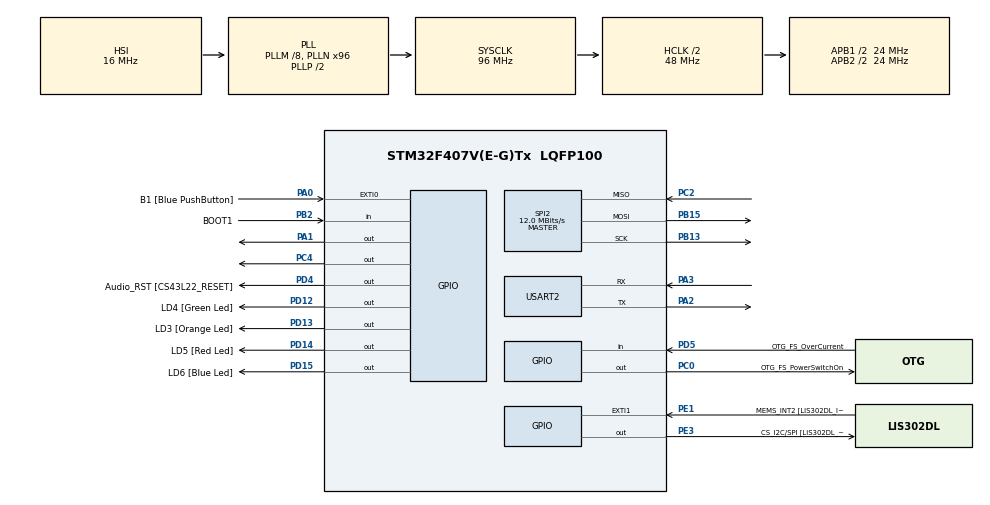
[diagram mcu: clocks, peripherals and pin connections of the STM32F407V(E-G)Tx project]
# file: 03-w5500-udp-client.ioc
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Mcu.Family=STM32F4
Mcu.Name=STM32F407V(E-G)Tx
Mcu.Package=LQFP100
NVIC.PriorityGroup=NVIC_PRIORITYGROUP_0
PA0-WKUP.GPIO_Label=B1 [Blue PushButton]
PA0-WKUP.Signal=GPXTI0
PA1.Signal=GPIO_Output
PA10.GPIO_Label=OTG_FS_ID
PA10.GPIO_Mode=GPIO_MODE_AF_PP
PA10.GPIO_PuPd=GPIO_NOPULL
PA10.GPIO_Speed=GPIO_SPEED_FREQ_LOW
PA10.Signal=USB_OTG_FS_ID
PA11.GPIO_Label=OTG_FS_DM
PA11.GPIO_Mode=GPIO_MODE_AF_PP
PA11.GPIO_PuPd=GPIO_NOPULL
PA11.GPIO_Speed=GPIO_SPEED_FREQ_LOW
PA11.Signal=USB_OTG_FS_DM
PA12.GPIO_Label=OTG_FS_DP
PA12.GPIO_Mode=GPIO_MODE_AF_PP
PA12.GPIO_PuPd=GPIO_NOPULL
PA12.GPIO_Speed=GPIO_SPEED_FREQ_LOW
PA12.Signal=USB_OTG_FS_DP
PA13.GPIO_Label=SWDIO
PA13.Signal=SYS_JTMS-SWDIO
PA14.GPIO_Label=SWCLK
PA14.Signal=SYS_JTCK-SWCLK
PA2.Mode=Asynchronous
PA2.Signal=USART2_TX
PA3.Mode=Asynchronous
PA3.Signal=USART2_RX
PA4.GPIO_Label=I2S3_WS [CS43L22_LRCK]
PA4.GPIO_Mode=GPIO_MODE_AF_PP
PA4.GPIO_PuPd=GPIO_NOPULL
PA4.GPIO_Speed=GPIO_SPEED_FREQ_LOW
PA4.Signal=I2S3_WS
PA5.GPIO_Label=SPI1_SCK [LIS302DL_SCL/SPC]
PA5.GPIO_Mode=GPIO_MODE_AF_PP
PA5.GPIO_PuPd=GPIO_NOPULL
PA5.GPIO_Speed=GPIO_SPEED_FREQ_LOW
PA5.Signal=SPI1_SCK
PA6.GPIO_Label=SPI1_MISO [LIS302DL_SDO]
PA6.GPIO_Mode=GPIO_MODE_AF_PP
PA6.GPIO_PuPd=GPIO_NOPULL
PA6.GPIO_Speed=GPIO_SPEED_FREQ_LOW
PA6.Signal=SPI1_MISO
PA7.GPIO_Label=SPI1_MOSI [LIS302DL_SDA/SDI/SDO]
PA7.GPIO_Mode=GPIO_MODE_AF_PP
PA7.GPIO_PuPd=GPIO_NOPULL
PA7.GPIO_Speed=GPIO_SPEED_FREQ_LOW
PA7.Signal=SPI1_MOSI
PA9.GPIO_Label=VBUS_FS
PA9.GPIO_Mode=GPIO_MODE_INPUT
PA9.GPIO_PuPd=GPIO_NOPULL
PA9.Signal=USB_OTG_FS_VBUS
PB10.GPIO_Label=CLK_IN [MP45DT02_CLK]
PB10.GPIO_Mode=GPIO_MODE_AF_PP
PB10.GPIO_PuPd=GPIO_NOPULL
PB10.GPIO_Speed=GPIO_SPEED_FREQ_LOW
PB10.Signal=I2S2_CK
PB13.Mode=Full_Duplex_Master
PB13.Signal=SPI2_SCK
PB15.Mode=Full_Duplex_Master
PB15.Signal=SPI2_MOSI
PB2.GPIO_Label=BOOT1
PB2.GPIO_Mode=GPIO_MODE_INPUT
PB2.GPIO_PuPd=GPIO_NOPULL
PB2.Signal=GPIO_Input
PB3.GPIO_Label=SWO
PB3.Signal=SYS_JTDO-SWO
PB6.GPIO_Label=Audio_SCL [CS43L22_SCL]
PB6.GPIO_Mode=GPIO_MODE_AF_OD
PB6.GPIO_PuPd=GPIO_NOPULL
PB6.GPIO_Speed=GPIO_SPEED_FREQ_LOW
PB6.Signal=I2C1_SCL
PB9.GPIO_Label=Audio_SDA [CS43L22_SDA]
PB9.GPIO_Mode=GPIO_MODE_AF_OD
PB9.GPIO_PuPd=GPIO_NOPULL
PB9.GPIO_Speed=GPIO_SPEED_FREQ_LOW
PB9.Signal=I2C1_SDA
PC0.GPIO_Label=OTG_FS_PowerSwitchOn
PC0.GPIO_PuPd=GPIO_NOPULL
PC0.GPIO_Speed=GPIO_SPEED_FREQ_LOW
PC0.PinState=GPIO_PIN_SET
PC0.Signal=GPIO_Output
PC10.GPIO_Label=I2S3_SCK [CS43L22_SCLK]
PC10.GPIO_Mode=GPIO_MODE_AF_PP
PC10.GPIO_PuPd=GPIO_NOPULL
PC10.GPIO_Speed=GPIO_SPEED_FREQ_LOW
PC10.Signal=I2S3_CK
PC12.GPIO_Label=I2S3_SD [CS43L22_SDIN]
PC12.GPIO_Mode=GPIO_MODE_AF_PP
PC12.GPIO_PuPd=GPIO_NOPULL
PC12.GPIO_Speed=GPIO_SPEED_FREQ_LOW
PC12.Signal=I2S3_SD
PC14-OSC32_IN.GPIO_Label=PC14-OSC32_IN
PC14-OSC32_IN.Signal=RCC_OSC32_IN
PC15-OSC32_OUT.GPIO_Label=PC15-OSC32_OUT
PC15-OSC32_OUT.Signal=RCC_OSC32_OUT
PC2.Mode=Full_Duplex_Master
PC2.Signal=SPI2_MISO
PC3.GPIO_Label=PDM_OUT [MP45DT02_DOUT]
PC3.GPIO_Mode=GPIO_MODE_AF_PP
PC3.GPIO_PuPd=GPIO_NOPULL
PC3.GPIO_Speed=GPIO_SPEED_FREQ_LOW
PC3.Signal=I2S2_SD
PC4.Signal=GPIO_Output
PC7.GPIO_Label=I2S3_MCK [CS43L22_MCLK]
PC7.GPIO_Mode=GPIO_MODE_AF_PP
PC7.GPIO_PuPd=GPIO_NOPULL
PC7.GPIO_Speed=GPIO_SPEED_FREQ_LOW
PC7.Signal=I2S3_MCK
PD12.GPIO_Label=LD4 [Green Led]
PD12.GPIO_PuPd=GPIO_NOPULL
PD12.GPIO_Speed=GPIO_SPEED_FREQ_LOW
PD12.Signal=GPIO_Output
PD13.GPIO_Label=LD3 [Orange Led]
PD13.GPIO_PuPd=GPIO_NOPULL
PD13.GPIO_Speed=GPIO_SPEED_FREQ_LOW
PD13.Signal=GPIO_Output
PD14.GPIO_Label=LD5 [Red Led]
PD14.GPIO_PuPd=GPIO_NOPULL
PD14.GPIO_Speed=GPIO_SPEED_FREQ_LOW
PD14.Signal=GPIO_Output
PD15.GPIO_Label=LD6 [Blue Led]
PD15.GPIO_PuPd=GPIO_NOPULL
PD15.GPIO_Speed=GPIO_SPEED_FREQ_LOW
PD15.Signal=GPIO_Output
PD4.GPIO_Label=Audio_RST [CS43L22_RESET]
PD4.GPIO_PuPd=GPIO_NOPULL
PD4.GPIO_Speed=GPIO_SPEED_FREQ_LOW
PD4.Signal=GPIO_Output
PD5.GPIO_Label=OTG_FS_OverCurrent
PD5.GPIO_Mode=GPIO_MODE_INPUT
PD5.GPIO_PuPd=GPIO_NOPULL
PD5.Signal=GPIO_Input
PE1.GPIO_Label=MEMS_INT2 [LIS302DL_INT2]
PE1.GPIO_ModeDefaultEXTI=GPIO_MODE_EVT_RISING
PE1.GPIO_PuPd=GPIO_NOPULL
PE1.Signal=GPXTI1
PE3.GPIO_Label=CS_I2C/SPI [LIS302DL_CS_I2C/SPI]
PE3.GPIO_PuPd=GPIO_NOPULL
PE3.GPIO_Speed=GPIO_SPEED_FREQ_LOW
PE3.Signal=GPIO_Output
PH0-OSC_IN.GPIO_Label=PH0-OSC_IN
PH0-OSC_IN.Signal=RCC_OSC_IN
PH1-OSC_OUT.GPIO_Label=PH1-OSC_OUT
PH1-OSC_OUT.Signal=RCC_OSC_OUT
ProjectManager.HeapSize=0x200
ProjectManager.StackSize=0x400
ProjectManager.TargetToolchain=STM32CubeIDE
RCC.48MHZClocksFreq_Value=27428571.42857143
RCC.AHBCLKDivider=RCC_SYSCLK_DIV2
RCC.AHBFreq_Value=48000000
RCC.APB1CLKDivider=RCC_HCLK_DIV2
RCC.APB1Freq_Value=24000000
RCC.APB1TimFreq_Value=48000000
RCC.APB2CLKDivider=RCC_HCLK_DIV2
RCC.APB2Freq_Value=24000000
RCC.APB2TimFreq_Value=48000000
RCC.CortexFreq_Value=48000000
RCC.HCLKFreq_Value=48000000
RCC.HSE_VALUE=8000000
RCC.HSI_VALUE=16000000
RCC.LSE_VALUE=32768
RCC.PLLM=8
RCC.PLLN=96
RCC.PLLQ=7
RCC.SYSCLKFreq_VALUE=96000000
RCC.SYSCLKSource=RCC_SYSCLKSOURCE_PLLCLK
RCC.VCOOutputFreq_Value=192000000
SPI2.CalculateBaudRate=12.0 MBits/s
SPI2.Direction=SPI_DIRECTION_2LINES
SPI2.Mode=SPI_MODE_MASTER
SPI2.VirtualType=VM_MASTER
USART2.VirtualMode=VM_ASYNC
board=STM32F407G-DISC1

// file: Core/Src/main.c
/* USER CODE BEGIN Header */
#include <stdio.h>
#include <string.h>
/* USER CODE END Header */
#include "main.h"

/* USER CODE BEGIN Includes */
#include "w5500_spi.h"
#include "wizchip_conf.h"
#include "socket.h"
/* USER CODE END Includes */

/* USER CODE BEGIN PD */
#define SERVER_PORT		5000
#define SOCK_FD			1
/* USER CODE END PD */

SPI_HandleTypeDef hspi2;
UART_HandleTypeDef huart2;

/* USER CODE BEGIN PV */
uint8_t server_ip[4] = {192, 168, 1, 25};
/* USER CODE END PV */

void SystemClock_Config(void);
static void MX_GPIO_Init(void);
static void MX_SPI2_Init(void);
static void MX_USART2_UART_Init(void);
/* USER CODE BEGIN PFP */
static void u2_writebyte(const char data);
static void PHY_StatusCheck(void);
static void PHY_ConfPrint(void);
static void PHY_ConfSW(void);   // configure PHY by software
/* USER CODE END PFP */

/* USER CODE BEGIN 0 */
// 80 34 28 74 a5 cb
wiz_NetInfo wiz_netinfo = {
	.mac 	= {0x80, 0x34, 0x28, 0x74, 0xA5, 0xCB}, // MSB - LSB
	.ip 	= {192, 168, 1, 112},
	.sn		= {255, 255, 255, 0},
	.gw		= {192, 168, 1, 254},
	.dns	= {8, 8, 8, 8},
	.dhcp	= NETINFO_STATIC
};
/* USER CODE END 0 */

int main(void)
{

  /* USER CODE BEGIN 1 */
  int32_t result; // to store result(return values) of socket functions
  /* USER CODE END 1 */

  /* MCU Configuration--------------------------------------------------------*/

  /* Reset of all peripherals, Initializes the Flash interface and the Systick. */
  HAL_Init();

  /* USER CODE BEGIN Init */
  setbuf(stdout, NULL);
  /* USER CODE END Init */

  /* Configure the system clock */
  SystemClock_Config();

  /* Initialize all configured peripherals */
  MX_GPIO_Init();
  MX_SPI2_Init();
  MX_USART2_UART_Init();

  /* USER CODE BEGIN 2 */

  W5500_Init();
  ctlnetwork(CN_SET_NETINFO, (void*)&wiz_netinfo);
  PHY_ConfSW();
  PHY_StatusCheck();
  PHY_ConfPrint();

  printf("A simple UDP client exmaple with wiznet library\r\n");
  printf("-----------------------------------------------\r\n");

  if (socket(SOCK_FD, Sn_MR_UDP, 0, 0) != SOCK_FD)
  {
	printf("Socket has been created \r\n");
  }
  else
  {
	printf("Unable to create a socket\r\n");
	while (1);
  }

  /* USER CODE END 2 */

  /* Infinite loop */
  /* USER CODE BEGIN WHILE */
  TEST_DEBUG_USART();
  while (1)
  {
	result = sendto(1, "[125:Noargs Sending data from STM32\r\n", 38, server_ip, SERVER_PORT);

	if (result < 0)
	{
	  printf("Unable to send the data\r\n");
	}
	else
	{
	  printf("Data sent successfully\r\n");
	  printf("Written %ld bytes to the socket.\r\n", result);
	}
	HAL_Delay(1000);
    /* USER CODE END WHILE */

  }
}

void SystemClock_Config(void)
{
  RCC_OscInitTypeDef RCC_OscInitStruct = {0};
  RCC_ClkInitTypeDef RCC_ClkInitStruct = {0};

  /** Configure the main internal regulator output voltage
  */
  __HAL_RCC_PWR_CLK_ENABLE();
  __HAL_PWR_VOLTAGESCALING_CONFIG(PWR_REGULATOR_VOLTAGE_SCALE1);

  /** Initializes the RCC Oscillators according to the specified parameters
  * in the RCC_OscInitTypeDef structure.
  */
  RCC_OscInitStruct.OscillatorType = RCC_OSCILLATORTYPE_HSI;
  RCC_OscInitStruct.HSIState = RCC_HSI_ON;
  RCC_OscInitStruct.HSICalibrationValue = RCC_HSICALIBRATION_DEFAULT;
  RCC_OscInitStruct.PLL.PLLState = RCC_PLL_ON;
  RCC_OscInitStruct.PLL.PLLSource = RCC_PLLSOURCE_HSI;
  RCC_OscInitStruct.PLL.PLLM = 8;
  RCC_OscInitStruct.PLL.PLLN = 96;
  RCC_OscInitStruct.PLL.PLLP = RCC_PLLP_DIV2;
  RCC_OscInitStruct.PLL.PLLQ = 7;
  if (HAL_RCC_OscConfig(&RCC_OscInitStruct) != HAL_OK)
  {
    Error_Handler();
  }

  /** Initializes the CPU, AHB and APB buses clocks
  */
  RCC_ClkInitStruct.ClockType = RCC_CLOCKTYPE_HCLK|RCC_CLOCKTYPE_SYSCLK
                              |RCC_CLOCKTYPE_PCLK1|RCC_CLOCKTYPE_PCLK2;
  RCC_ClkInitStruct.SYSCLKSource = RCC_SYSCLKSOURCE_PLLCLK;
  RCC_ClkInitStruct.AHBCLKDivider = RCC_SYSCLK_DIV2;
  RCC_ClkInitStruct.APB1CLKDivider = RCC_HCLK_DIV2;
  RCC_ClkInitStruct.APB2CLKDivider = RCC_HCLK_DIV2;

  if (HAL_RCC_ClockConfig(&RCC_ClkInitStruct, FLASH_LATENCY_1) != HAL_OK)
  {
    Error_Handler();
  }
}

static void MX_SPI2_Init(void)
{

  /* SPI2 parameter configuration*/
  hspi2.Instance = SPI2;
  hspi2.Init.Mode = SPI_MODE_MASTER;
  hspi2.Init.Direction = SPI_DIRECTION_2LINES;
  hspi2.Init.DataSize = SPI_DATASIZE_8BIT;
  hspi2.Init.CLKPolarity = SPI_POLARITY_LOW;
  hspi2.Init.CLKPhase = SPI_PHASE_1EDGE;
  hspi2.Init.NSS = SPI_NSS_SOFT;
  hspi2.Init.BaudRatePrescaler = SPI_BAUDRATEPRESCALER_2;
  hspi2.Init.FirstBit = SPI_FIRSTBIT_MSB;
  hspi2.Init.TIMode = SPI_TIMODE_DISABLE;
  hspi2.Init.CRCCalculation = SPI_CRCCALCULATION_DISABLE;
  hspi2.Init.CRCPolynomial = 10;
  if (HAL_SPI_Init(&hspi2) != HAL_OK)
  {
    Error_Handler();
  }

}

static void MX_USART2_UART_Init(void)
{

  huart2.Instance = USART2;
  huart2.Init.BaudRate = 115200;
  huart2.Init.WordLength = UART_WORDLENGTH_8B;
  huart2.Init.StopBits = UART_STOPBITS_1;
  huart2.Init.Parity = UART_PARITY_NONE;
  huart2.Init.Mode = UART_MODE_TX_RX;
  huart2.Init.HwFlowCtl = UART_HWCONTROL_NONE;
  huart2.Init.OverSampling = UART_OVERSAMPLING_16;
  if (HAL_UART_Init(&huart2) != HAL_OK)
  {
    Error_Handler();
  }

}

static void MX_GPIO_Init(void)
{
  GPIO_InitTypeDef GPIO_InitStruct = {0};

  /* GPIO Ports Clock Enable */
  __HAL_RCC_GPIOE_CLK_ENABLE();
  __HAL_RCC_GPIOC_CLK_ENABLE();
  __HAL_RCC_GPIOH_CLK_ENABLE();
  __HAL_RCC_GPIOA_CLK_ENABLE();
  __HAL_RCC_GPIOB_CLK_ENABLE();
  __HAL_RCC_GPIOD_CLK_ENABLE();

  /*Configure GPIO pin Output Level */
  HAL_GPIO_WritePin(CS_I2C_SPI_GPIO_Port, CS_I2C_SPI_Pin, GPIO_PIN_RESET);

  /*Configure GPIO pin Output Level */
  HAL_GPIO_WritePin(OTG_FS_PowerSwitchOn_GPIO_Port, OTG_FS_PowerSwitchOn_Pin, GPIO_PIN_SET);

  /*Configure GPIO pin Output Level */
  HAL_GPIO_WritePin(GPIOA, GPIO_PIN_1, GPIO_PIN_RESET);

  /*Configure GPIO pin Output Level */
  HAL_GPIO_WritePin(GPIOC, GPIO_PIN_4, GPIO_PIN_RESET);

  /*Configure GPIO pin Output Level */
  HAL_GPIO_WritePin(GPIOD, LD4_Pin|LD3_Pin|LD5_Pin|LD6_Pin
                          |Audio_RST_Pin, GPIO_PIN_RESET);

  /*Configure GPIO pin : CS_I2C_SPI_Pin */
  GPIO_InitStruct.Pin = CS_I2C_SPI_Pin;
  GPIO_InitStruct.Mode = GPIO_MODE_OUTPUT_PP;
  GPIO_InitStruct.Pull = GPIO_NOPULL;
  GPIO_InitStruct.Speed = GPIO_SPEED_FREQ_LOW;
  HAL_GPIO_Init(CS_I2C_SPI_GPIO_Port, &GPIO_InitStruct);

  /*Configure GPIO pins : OTG_FS_PowerSwitchOn_Pin PC4 */
  GPIO_InitStruct.Pin = OTG_FS_PowerSwitchOn_Pin|GPIO_PIN_4;
  GPIO_InitStruct.Mode = GPIO_MODE_OUTPUT_PP;
  GPIO_InitStruct.Pull = GPIO_NOPULL;
  GPIO_InitStruct.Speed = GPIO_SPEED_FREQ_LOW;
  HAL_GPIO_Init(GPIOC, &GPIO_InitStruct);

  /*Configure GPIO pin : PDM_OUT_Pin */
  GPIO_InitStruct.Pin = PDM_OUT_Pin;
  GPIO_InitStruct.Mode = GPIO_MODE_AF_PP;
  GPIO_InitStruct.Pull = GPIO_NOPULL;
  GPIO_InitStruct.Speed = GPIO_SPEED_FREQ_LOW;
  GPIO_InitStruct.Alternate = GPIO_AF5_SPI2;
  HAL_GPIO_Init(PDM_OUT_GPIO_Port, &GPIO_InitStruct);

  /*Configure GPIO pin : B1_Pin */
  GPIO_InitStruct.Pin = B1_Pin;
  GPIO_InitStruct.Mode = GPIO_MODE_IT_RISING;
  GPIO_InitStruct.Pull = GPIO_NOPULL;
  HAL_GPIO_Init(B1_GPIO_Port, &GPIO_InitStruct);

  /*Configure GPIO pin : PA1 */
  GPIO_InitStruct.Pin = GPIO_PIN_1;
  GPIO_InitStruct.Mode = GPIO_MODE_OUTPUT_PP;
  GPIO_InitStruct.Pull = GPIO_NOPULL;
  GPIO_InitStruct.Speed = GPIO_SPEED_FREQ_LOW;
  HAL_GPIO_Init(GPIOA, &GPIO_InitStruct);

  /*Configure GPIO pin : I2S3_WS_Pin */
  GPIO_InitStruct.Pin = I2S3_WS_Pin;
  GPIO_InitStruct.Mode = GPIO_MODE_AF_PP;
  GPIO_InitStruct.Pull = GPIO_NOPULL;
  GPIO_InitStruct.Speed = GPIO_SPEED_FREQ_LOW;
  GPIO_InitStruct.Alternate = GPIO_AF6_SPI3;
  HAL_GPIO_Init(I2S3_WS_GPIO_Port, &GPIO_InitStruct);

  /*Configure GPIO pins : SPI1_SCK_Pin SPI1_MISO_Pin SPI1_MOSI_Pin */
  GPIO_InitStruct.Pin = SPI1_SCK_Pin|SPI1_MISO_Pin|SPI1_MOSI_Pin;
  GPIO_InitStruct.Mode = GPIO_MODE_AF_PP;
  GPIO_InitStruct.Pull = GPIO_NOPULL;
  GPIO_InitStruct.Speed = GPIO_SPEED_FREQ_LOW;
  GPIO_InitStruct.Alternate = GPIO_AF5_SPI1;
  HAL_GPIO_Init(GPIOA, &GPIO_InitStruct);

  /*Configure GPIO pin : BOOT1_Pin */
  GPIO_InitStruct.Pin = BOOT1_Pin;
  GPIO_InitStruct.Mode = GPIO_MODE_INPUT;
  GPIO_InitStruct.Pull = GPIO_NOPULL;
  HAL_GPIO_Init(BOOT1_GPIO_Port, &GPIO_InitStruct);

  /*Configure GPIO pin : CLK_IN_Pin */
  GPIO_InitStruct.Pin = CLK_IN_Pin;
  GPIO_InitStruct.Mode = GPIO_MODE_AF_PP;
  GPIO_InitStruct.Pull = GPIO_NOPULL;
  GPIO_InitStruct.Speed = GPIO_SPEED_FREQ_LOW;
  GPIO_InitStruct.Alternate = GPIO_AF5_SPI2;
  HAL_GPIO_Init(CLK_IN_GPIO_Port, &GPIO_InitStruct);

  /*Configure GPIO pins : LD4_Pin LD3_Pin LD5_Pin LD6_Pin
                           Audio_RST_Pin */
  GPIO_InitStruct.Pin = LD4_Pin|LD3_Pin|LD5_Pin|LD6_Pin
                          |Audio_RST_Pin;
  GPIO_InitStruct.Mode = GPIO_MODE_OUTPUT_PP;
  GPIO_InitStruct.Pull = GPIO_NOPULL;
  GPIO_InitStruct.Speed = GPIO_SPEED_FREQ_LOW;
  HAL_GPIO_Init(GPIOD, &GPIO_InitStruct);

  /*Configure GPIO pins : I2S3_MCK_Pin I2S3_SCK_Pin I2S3_SD_Pin */
  GPIO_InitStruct.Pin = I2S3_MCK_Pin|I2S3_SCK_Pin|I2S3_SD_Pin;
  GPIO_InitStruct.Mode = GPIO_MODE_AF_PP;
  GPIO_InitStruct.Pull = GPIO_NOPULL;
  GPIO_InitStruct.Speed = GPIO_SPEED_FREQ_LOW;
  GPIO_InitStruct.Alternate = GPIO_AF6_SPI3;
  HAL_GPIO_Init(GPIOC, &GPIO_InitStruct);

  /*Configure GPIO pin : VBUS_FS_Pin */
  GPIO_InitStruct.Pin = VBUS_FS_Pin;
  GPIO_InitStruct.Mode = GPIO_MODE_INPUT;
  GPIO_InitStruct.Pull = GPIO_NOPULL;
  HAL_GPIO_Init(VBUS_FS_GPIO_Port, &GPIO_InitStruct);

  /*Configure GPIO pins : OTG_FS_ID_Pin OTG_FS_DM_Pin OTG_FS_DP_Pin */
  GPIO_InitStruct.Pin = OTG_FS_ID_Pin|OTG_FS_DM_Pin|OTG_FS_DP_Pin;
  GPIO_InitStruct.Mode = GPIO_MODE_AF_PP;
  GPIO_InitStruct.Pull = GPIO_NOPULL;
  GPIO_InitStruct.Speed = GPIO_SPEED_FREQ_LOW;
  GPIO_InitStruct.Alternate = GPIO_AF10_OTG_FS;
  HAL_GPIO_Init(GPIOA, &GPIO_InitStruct);

  /*Configure GPIO pin : OTG_FS_OverCurrent_Pin */
  GPIO_InitStruct.Pin = OTG_FS_OverCurrent_Pin;
  GPIO_InitStruct.Mode = GPIO_MODE_INPUT;
  GPIO_InitStruct.Pull = GPIO_NOPULL;
  HAL_GPIO_Init(OTG_FS_OverCurrent_GPIO_Port, &GPIO_InitStruct);

  /*Configure GPIO pins : Audio_SCL_Pin Audio_SDA_Pin */
  GPIO_InitStruct.Pin = Audio_SCL_Pin|Audio_SDA_Pin;
  GPIO_InitStruct.Mode = GPIO_MODE_AF_OD;
  GPIO_InitStruct.Pull = GPIO_NOPULL;
  GPIO_InitStruct.Speed = GPIO_SPEED_FREQ_LOW;
  GPIO_InitStruct.Alternate = GPIO_AF4_I2C1;
  HAL_GPIO_Init(GPIOB, &GPIO_InitStruct);

  /*Configure GPIO pin : MEMS_INT2_Pin */
  GPIO_InitStruct.Pin = MEMS_INT2_Pin;
  GPIO_InitStruct.Mode = GPIO_MODE_EVT_RISING;
  GPIO_InitStruct.Pull = GPIO_NOPULL;
  HAL_GPIO_Init(MEMS_INT2_GPIO_Port, &GPIO_InitStruct);

}

/* USER CODE BEGIN 4 */
static void u2_writebyte(const char data)
{
  while(__HAL_UART_GET_FLAG(&huart2, UART_FLAG_TXE) == RESET);
  huart2.Instance->DR = data;
}

int __io_putchar(int ch)
{
  u2_writebyte(ch);
  return ch;
}

static void PHY_StatusCheck(void)
{
  uint8_t temp;

  printf("\r\nChecking cable connection...");

  do
  {
	ctlwizchip(CW_GET_PHYLINK, (void*)&temp);
	if (temp == PHY_LINK_OFF)
	{
	  printf("\n\rNo cable connected");
	  HAL_Delay(1500);
	}
  } while (temp == PHY_LINK_OFF);

  printf("\n\rCable got connected!");
}

static void PHY_ConfPrint(void)
{
  wiz_PhyConf phy_conf;
  ctlwizchip(CW_GET_PHYCONF, (void*)&phy_conf);

  if (phy_conf.by == PHY_CONFBY_HW)
	printf("\n\rPHY Configured by Hardware pins");
  else
	printf("\n\rPHY Configured by registers");

  if (phy_conf.mode == PHY_MODE_AUTONEGO)
	printf("\n\rAuto-negotiation enabled");
  else
	printf("\n\rAuto-negotiation not enabled");

  if (phy_conf.duplex == PHY_DUPLEX_FULL)
	printf("\n\rDuplex mode: Full");
  else
	printf("\n\rDuplex mode: Half");

  if (phy_conf.speed == PHY_SPEED_10)
	printf("\n\rSpeed: 10Mbs");
  else
	printf("\n\rSpeed: 100Mbs");
}

static void PHY_ConfSW(void)
{
  wiz_PhyConf phy_conf;
  phy_conf.by 		= PHY_CONFBY_SW;
  phy_conf.duplex 	= PHY_DUPLEX_FULL;
  phy_conf.speed	= PHY_SPEED_10;
  phy_conf.mode		= PHY_MODE_AUTONEGO; // best to go with auto-negotiation

  ctlwizchip(CW_SET_PHYCONF, (void*)&phy_conf);
}
/* USER CODE END 4 */

void Error_Handler(void)
{
  __disable_irq();
  while (1)
  {
  }
}
